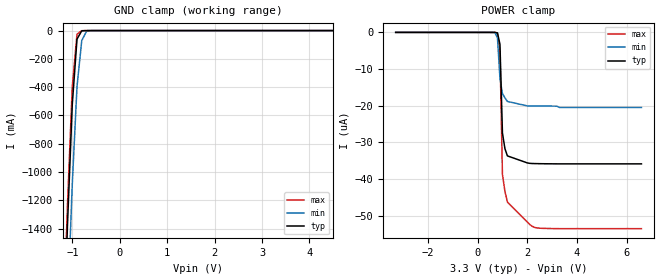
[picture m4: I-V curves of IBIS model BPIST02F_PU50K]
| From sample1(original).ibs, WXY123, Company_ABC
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|   Model BPIST02F_PU50K
[Model]   BPIST02F_PU50K
Model_type   Input
Polarity   Non-Inverting
Vinl = 0.8V
Vinh = 2.0V
C_comp   2.93pF   NA   NA
[Temperature Range]   25   125   0
[Voltage Range]   3.3V   3.0V   3.6V
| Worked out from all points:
|   GND clamp passes 1 mA (typ) near -0.75 V on its own axis
[GND_clamp]
| voltage   I(typ)   I(min)   I(max)
-3.3V     -25.3A     -25.75A    -25.21A
-1.2V     -2.336A    -2.94A     -2.195A
-1.1V     -1.367A    -1.972A    -1.224A
-1V       -523.7mA   -1.087A    -398.7mA
-900mV    -59.94mA   -395.6mA   -25.33mA
-800mV    -1.758mA   -70.54mA   -633.7uA
-700mV    -120.4uA   -5.507mA   -133.1uA
-600mV    -34.29uA   -355.8uA   -47.26uA
6.6V      0A         0A         0A
[POWER_clamp]
| voltage   I(typ)   I(min)   I(max)
-3.3V     327.9pA    737.6pA    328.9pA
600mV     -84.66pA   -5.174nA   -174.5pA
700mV     -3.017nA   -96.85nA   -6.573nA
800mV     -130.4nA   -1.484uA   -242.1nA
900mV     -3.246uA   -12.57uA   -5.36uA
1V        -27.42uA   -16.66uA   -38.75uA
1.1V      -31.69uA   -17.84uA   -43.31uA
1.2V      -33.66uA   -18.82uA   -46.23uA
2.1V      -35.69uA   -20.04uA   -52.35uA
2.3V      -35.76uA   -20.06uA   -53.16uA
2.6V      -35.8uA    -20.08uA   -53.41uA
6.6V      -35.84uA   -20.46uA   -53.5uA
